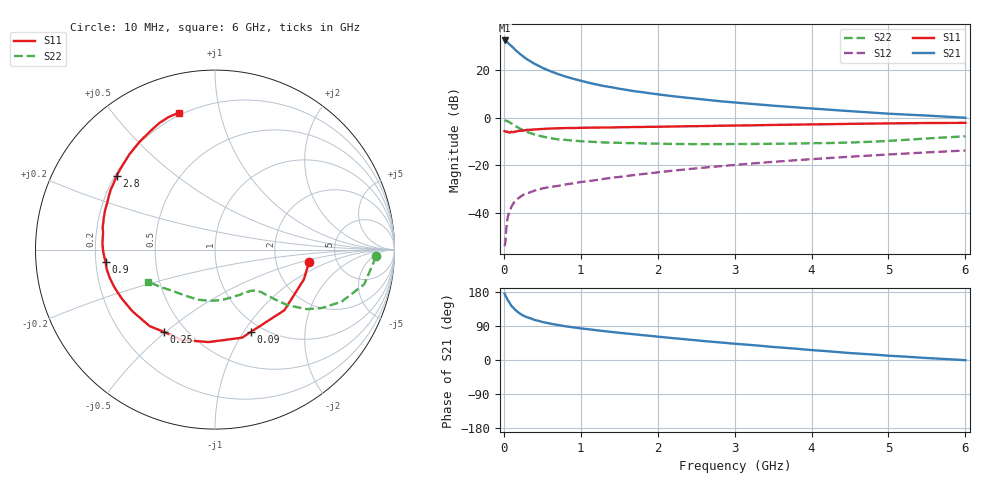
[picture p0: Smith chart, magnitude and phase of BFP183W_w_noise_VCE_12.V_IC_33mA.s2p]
! Infineon Technologies  Discrete & RF Semiconductors
! BFP183W
! VCE =  12. V,  IC =  33 mA
! Common Emitter S-Parameters:  Jan 2017
# GHz  S  MA  R  50
!  f  S11  S21  S12  S22
! GHz  MAG  ANG  MAG  ANG  MAG  ANG  MAG  ANG
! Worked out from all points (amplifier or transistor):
!   77 points, 10 MHz to 6 GHz, reference 50 ohm
!   highest |S21| = 32.6 dB at 10 MHz (marker M1)
!   |S21| within 3 dB of that: start of sweep to 119.3 MHz
!   unconditionally stable (mu >= 1): start of sweep to 18.94 MHz; 1.133 GHz to 3.897 GHz
!   at 130 MHz: K = 0.41, MSG = 32.5 dB, |S12| = -35.7 dB
!   at 2.2 GHz: K = 1.11, MAG = 13.7 dB, |S12| = -22.2 dB
!   at 6 GHz: K = 0.85, MSG = 6.9 dB, |S12| = -13.7 dB
!   lowest NFmin = 1.47 dB at 450 MHz
!   S11 on the Smith chart (normalised r, x): 10 MHz: 3.12, -0.59; 90 MHz: 0.88, -1.08; 250 MHz: 0.38, -0.49; 900 MHz: 0.24, -0.05; 2.8 GHz: 0.21, +0.32; 6 GHz: 0.19, +0.76
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0.01  0.5284 -7.4  42.84 175.0  0.002 39.3  0.8967 -2.4
0.02  0.5225 -18.4  41.89 170.1  0.0024 59.5  0.8832 -5.3
0.05  0.5134 -41.1  38.79 158.1  0.0081 69.0  0.8533 -13.1
0.09  0.5008 -66.7  33.59 146.0  0.0125 61.9  0.7783 -20.4
0.1  0.5133 -72.9  32.57 142.4  0.0136 60.8  0.7618 -22.5
0.15  0.5164 -93.9  27.07 131.8  0.0184 56.5  0.6766 -28.8
0.2  0.5367 -110.2  23 123.7  0.021 53.4  0.6088 -33.0
0.25  0.5397 -121.8  19.81 117.4  0.0241 50.1  0.5528 -35.3
0.3  0.5607 -130.5  17.24 112.9  0.0257 48.1  0.5086 -37.5
0.4  0.5742 -143.1  13.79 105.7  0.0296 47.0  0.4468 -39.3
0.5  0.5867 -152.2  11.42 100.4  0.0328 46.3  0.4076 -40.5
0.6  0.5987 -159.5  9.718 96.1  0.0353 45.7  0.3775 -41.6
0.7  0.6069 -164.8  8.447 92.5  0.037 47.8  0.3557 -42.3
0.9  0.6137 -173.6  6.706 86.2  0.0421 49.1  0.3339 -44.0
1.1  0.6248 179.7  5.53 81.2  0.0468 51.8  0.3178 -46.0
1.5  0.6381 168.8  4.128 71.9  0.0573 54.5  0.3 -51.4
2.1  0.6566 155.6  3.005 59.7  0.0746 56.5  0.2859 -62.7
2.8  0.6856 143.0  2.26 46.5  0.0961 56.5  0.2821 -79.0
3.1  0.6957 138.1  2.054 41.4  0.1058 55.6  0.283 -86.2
4.1  0.736 123.7  1.544 24.8  0.1392 52.0  0.2949 -111.2
5.1  0.7722 112.9  1.208 10.2  0.1737 46.7  0.3364 -137.8
6  0.7893 104.6  1.01 -0.6  0.2069 40.8  0.4119 -154.2
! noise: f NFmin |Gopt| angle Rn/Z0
0.45  1.47  0.28  -179  0.1
0.9  1.51  0.31  -177  0.1
1.9  2  0.46  -156  0.11
2.4  2.24  0.51  -151  0.16
